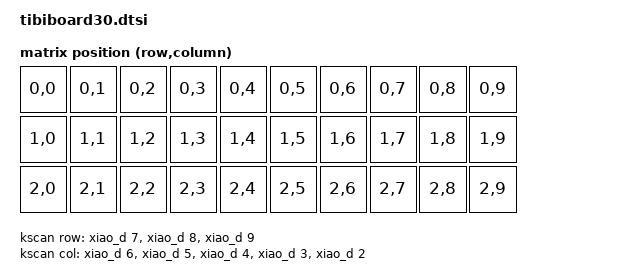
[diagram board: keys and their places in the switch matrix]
#include <physical_layouts.dtsi>
#include <dt-bindings/zmk/matrix_transform.h>

/* マクロ定義（必須） */
#define RC(r,c) <((((r) << 5) | (c)))>

/ {
    chosen {
        zmk,physical-layout = &layout;
        zmk,kscan = &kscan;
    };

    /* キースキャン設定（片手分：3行 x 5列） */
    kscan: kscan {
        compatible = "zmk,kscan-gpio-matrix";
        diode-direction = "col2row";
        wakeup-source;

        /* 行（Row）: D7, D8, D9 */
        row-gpios
            = <&xiao_d 7 (GPIO_ACTIVE_HIGH | GPIO_PULL_DOWN)>
            , <&xiao_d 8 (GPIO_ACTIVE_HIGH | GPIO_PULL_DOWN)>
            , <&xiao_d 9 (GPIO_ACTIVE_HIGH | GPIO_PULL_DOWN)>
            ;
        
        /* 列（Column）: D6, D5, D4, D3, D2 */
        col-gpios
            = <&xiao_d 6 GPIO_ACTIVE_HIGH>
            , <&xiao_d 5 GPIO_ACTIVE_HIGH>
            , <&xiao_d 4 GPIO_ACTIVE_HIGH>
            , <&xiao_d 3 GPIO_ACTIVE_HIGH>
            , <&xiao_d 2 GPIO_ACTIVE_HIGH>
            ;
    };

    /* マトリックス変換（全体：3行 x 10列） */
    transform: matrix_transform {
        compatible = "zmk,matrix-transform";
        rows = <3>;
        columns = <10>; 

        /* 左手(0-4) と 右手(5-9) の論理マップ */
        map = <
            RC(0, 0) RC(0, 1) RC(0, 2) RC(0, 3) RC(0, 4) RC(0, 5) RC(0, 6) RC(0, 7) RC(0, 8) RC(0, 9)
            RC(1, 0) RC(1, 1) RC(1, 2) RC(1, 3) RC(1, 4) RC(1, 5) RC(1, 6) RC(1, 7) RC(1, 8) RC(1, 9)
            RC(2, 0) RC(2, 1) RC(2, 2) RC(2, 3) RC(2, 4) RC(2, 5) RC(2, 6) RC(2, 7) RC(2, 8) RC(2, 9)
        >;
    };

    /* ZMK Studio用 物理レイアウト定義 */
    layout: layout {
        compatible = "zmk,physical-layout";
        display-name = "tibiboard30";
        transform = <&transform>;
        
        keys =
            /* --- 左手側 (X: 0 - 400) --- */
            <&key_physical_attrs 100 100    0    0>,
            <&key_physical_attrs 100 100  100    0>,
            <&key_physical_attrs 100 100  200    0>,
            <&key_physical_attrs 100 100  300    0>,
            <&key_physical_attrs 100 100  400    0>,
            
            /* --- 右手側 (X: 600 - 1000) --- */
            <&key_physical_attrs 100 100  600    0>,
            <&key_physical_attrs 100 100  700    0>,
            <&key_physical_attrs 100 100  800    0>,
            <&key_physical_attrs 100 100  900    0>,
            <&key_physical_attrs 100 100 1000    0>,

            /* --- 2行目 --- */
            <&key_physical_attrs 100 100    0  100>,
            <&key_physical_attrs 100 100  100  100>,
            <&key_physical_attrs 100 100  200  100>,
            <&key_physical_attrs 100 100  300  100>,
            <&key_physical_attrs 100 100  400  100>,

            <&key_physical_attrs 100 100  600  100>,
            <&key_physical_attrs 100 100  700  100>,
            <&key_physical_attrs 100 100  800  100>,
            <&key_physical_attrs 100 100  900  100>,
            <&key_physical_attrs 100 100 1000  100>,

            /* --- 3行目 --- */
            <&key_physical_attrs 100 100    0  200>,
            <&key_physical_attrs 100 100  100  200>,
            <&key_physical_attrs 100 100  200  200>,
            <&key_physical_attrs 100 100  300  200>,
            <&key_physical_attrs 100 100  400  200>,

            <&key_physical_attrs 100 100  600  200>,
            <&key_physical_attrs 100 100  700  200>,
            <&key_physical_attrs 100 100  800  200>,
            <&key_physical_attrs 100 100  900  200>,
            <&key_physical_attrs 100 100 1000  200>;
    };
};
